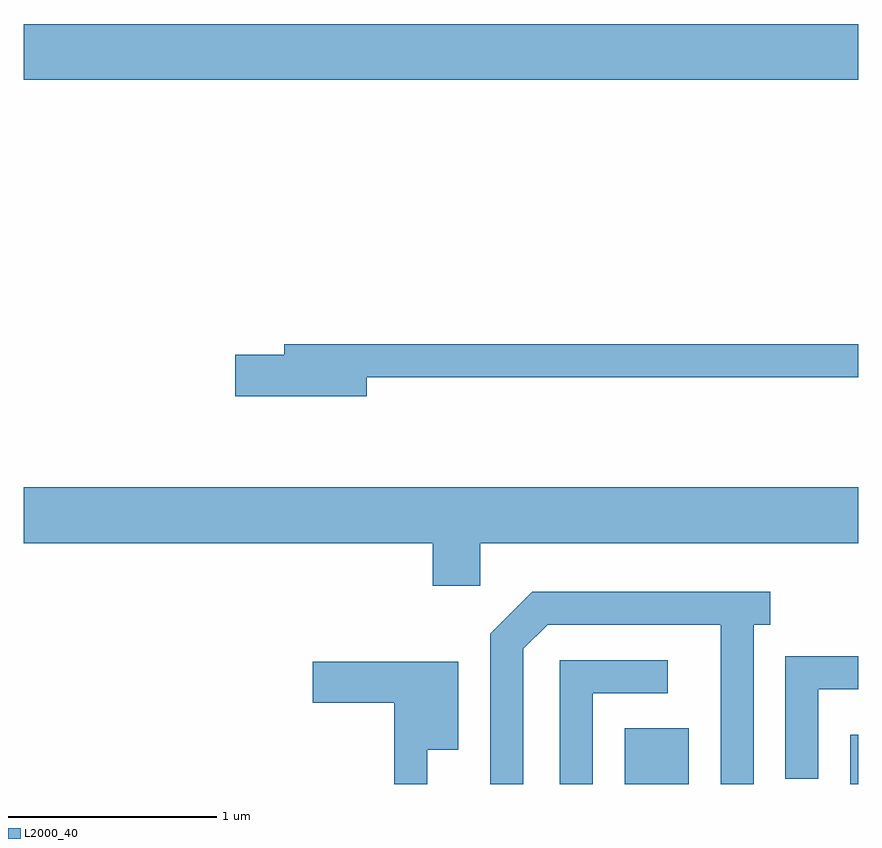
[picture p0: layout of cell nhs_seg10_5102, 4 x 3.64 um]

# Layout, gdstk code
import gdstk
lib = gdstk.Library(unit=1e-6, precision=1e-09)
def R(c, l, rs):  # rectangles x0, y0, x1, y1
    for r in rs: c.add(gdstk.rectangle(r[:2], r[2:], *l))
def P(c, l, *ps):  # polygons
    for p in ps: c.add(gdstk.Polygon(p, *l))
L2000_40 = (2000, 40)

nhs_seg10_5102 = lib.new_cell('nhs_seg10_5102')
R(nhs_seg10_5102, L2000_40, [(338.491,2130.522,338.799,2130.789), (339.571,2130.522,339.611,2130.759), (335.611,2133.896,339.611,2134.164)])
P(nhs_seg10_5102, L2000_40, [(337.254,2132.471),(339.611,2132.471),(339.611,2132.629),(336.861,2132.629),(336.861,2132.579),(336.626,2132.579),(336.626,2132.381),(337.254,2132.381)],
  [(337.799,2131.676),(339.611,2131.676),(339.611,2131.944),(335.611,2131.944),(335.611,2131.676),(337.571,2131.676),(337.571,2131.471),(337.799,2131.471)],
  [(338.004,2131.169),(338.122,2131.286),(338.951,2131.286),(338.951,2130.522),(339.109,2130.522),(339.109,2131.286),(339.188,2131.286),(339.188,2131.444),(338.049,2131.444),(337.846,2131.242),(337.846,2130.522),(338.004,2130.522)],
  [(339.419,2130.976),(339.611,2130.976),(339.611,2131.134),(339.261,2131.134),(339.261,2130.548),(339.419,2130.548)],
  [(338.339,2130.956),(338.698,2130.956),(338.698,2131.114),(338.181,2131.114),(338.181,2130.522),(338.339,2130.522)],
  [(337.544,2130.686),(337.694,2130.686),(337.694,2131.109),(336.996,2131.109),(336.996,2130.911),(337.386,2130.911),(337.386,2130.522),(337.544,2130.522)])

lib.write_gds('nhs_seg10_5102.gds')
